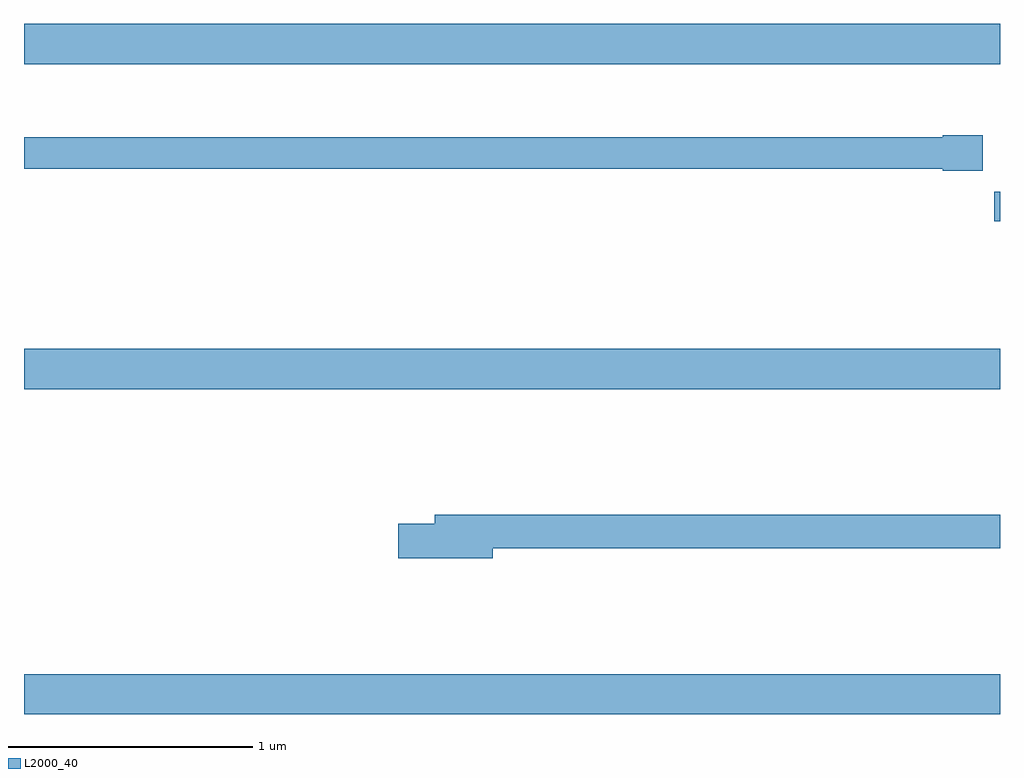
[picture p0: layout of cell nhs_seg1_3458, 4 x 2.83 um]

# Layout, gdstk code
import gdstk
lib = gdstk.Library(unit=1e-6, precision=1e-09)
def R(c, l, rs):  # rectangles x0, y0, x1, y1
    for r in rs: c.add(gdstk.rectangle(r[:2], r[2:], *l))
def A(c, l, x, y, w, h, nx, ny, dx, dy):  # array of equal rectangles
    R(c, l, [(x+i*dx, y+j*dy, x+i*dx+w, y+j*dy+h) for i in range(nx) for j in range(ny)])
def P(c, l, *ps):  # polygons
    for p in ps: c.add(gdstk.Polygon(p, *l))
L2000_40 = (2000, 40)

nhs_seg1_3458 = lib.new_cell('nhs_seg1_3458')
A(nhs_seg1_3458, L2000_40, 299, 513.104, 4, 0.164, 1, 3, 0, 1.332)
R(nhs_seg1_3458, L2000_40, [(302.976,515.123,303,515.245)])
P(nhs_seg1_3458, L2000_40, [(302.929,515.475),(302.766,515.475),(302.766,515.467),(299,515.467),(299,515.338),(302.766,515.338),(302.766,515.33),(302.929,515.33)],
  [(300.922,513.784),(303,513.784),(303,513.92),(300.683,513.92),(300.683,513.884),(300.534,513.884),(300.534,513.742),(300.922,513.742)])

lib.write_gds('nhs_seg1_3458.gds')
